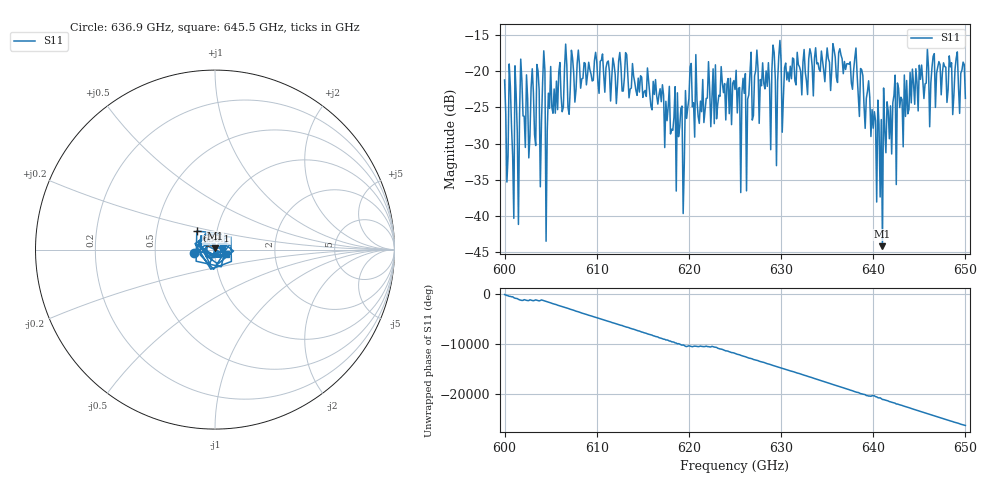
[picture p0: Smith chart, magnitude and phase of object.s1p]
!Created with skrf (http://scikit-rf.org).
# GHz S MA R 50.0
!freq magS11 angS11
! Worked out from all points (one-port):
!   401 points, 600 GHz to 650 GHz, reference 50 ohm
!   lowest |S11| = -44.1 dB at 641 GHz (marker M1), VSWR 1.01, Z = 50.1 + j0.617 ohm
!   |S11| at or under -10 dB: start of sweep to end of sweep
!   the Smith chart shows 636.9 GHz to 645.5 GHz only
!   S11 on the Smith chart (normalised r, x): 636.9 GHz: 0.79, -0.03; 638.1 GHz: 0.80, +0.17; 645.5 GHz: 1.13, -0.05
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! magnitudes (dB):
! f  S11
! 600 GHz  -21.2
! 601.2 GHz  -23.1
! 601.9 GHz  -21.3
! 602.5 GHz  -23.8
! 604.1 GHz  -21.5
! 604.6 GHz  -28.3
! 605 GHz  -19.4
! 606.2 GHz  -25.6
! 612.5 GHz  -17.4
! 617 GHz  -24.2
! 618.8 GHz  -23.0
! 619.6 GHz  -22.7
! 619.9 GHz  -25.0
! 620.2 GHz  -18.9
! 621.1 GHz  -27.2
! 625 GHz  -22.5
! 625.5 GHz  -22.3
! 627.2 GHz  -19.9
! 630.4 GHz  -19.5
! 631.2 GHz  -18.2
! 636.9 GHz  -18.7
! 637.5 GHz  -18.7
! 638.1 GHz  -16.8
! 641 GHz  -44.1
! 641.4 GHz  -31.2
! 643.8 GHz  -25.9
! 645.5 GHz  -23.8
! 650 GHz  -23.7
